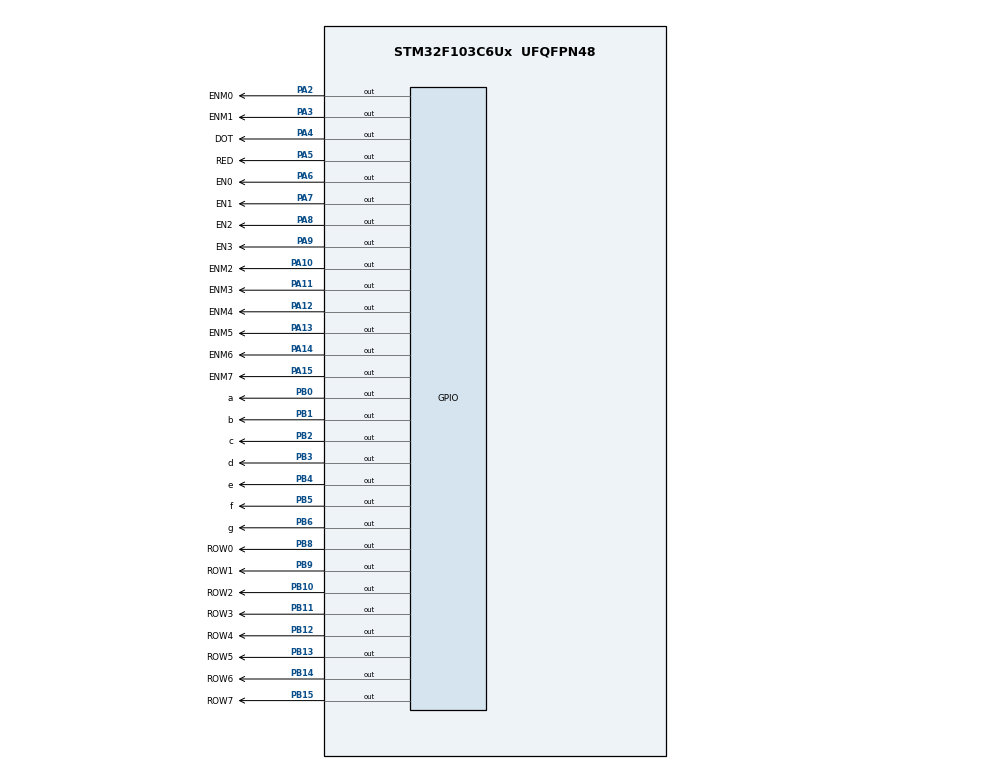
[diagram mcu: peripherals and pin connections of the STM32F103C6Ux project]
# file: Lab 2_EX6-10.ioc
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Mcu.Family=STM32F1
Mcu.Name=STM32F103C6Ux
Mcu.Package=UFQFPN48
NVIC.PriorityGroup=NVIC_PRIORITYGROUP_4
NVIC.TIM2_IRQn=true\:0\:0\:false\:false\:true\:true\:true
PA10.GPIO_Label=ENM2
PA10.Signal=GPIO_Output
PA11.GPIO_Label=ENM3
PA11.Signal=GPIO_Output
PA12.GPIO_Label=ENM4
PA12.Signal=GPIO_Output
PA13.GPIO_Label=ENM5
PA13.Signal=GPIO_Output
PA14.GPIO_Label=ENM6
PA14.Signal=GPIO_Output
PA15.GPIO_Label=ENM7
PA15.Signal=GPIO_Output
PA2.GPIO_Label=ENM0
PA2.Signal=GPIO_Output
PA3.GPIO_Label=ENM1
PA3.Signal=GPIO_Output
PA4.GPIO_Label=DOT
PA4.Signal=GPIO_Output
PA5.GPIO_Label=RED
PA5.Signal=GPIO_Output
PA6.GPIO_Label=EN0
PA6.Signal=GPIO_Output
PA7.GPIO_Label=EN1
PA7.Signal=GPIO_Output
PA8.GPIO_Label=EN2
PA8.Signal=GPIO_Output
PA9.GPIO_Label=EN3
PA9.Signal=GPIO_Output
PB0.GPIO_Label=a
PB0.Signal=GPIO_Output
PB1.GPIO_Label=b
PB1.Signal=GPIO_Output
PB10.GPIO_Label=ROW2
PB10.Signal=GPIO_Output
PB11.GPIO_Label=ROW3
PB11.Signal=GPIO_Output
PB12.GPIO_Label=ROW4
PB12.Signal=GPIO_Output
PB13.GPIO_Label=ROW5
PB13.Signal=GPIO_Output
PB14.GPIO_Label=ROW6
PB14.Signal=GPIO_Output
PB15.GPIO_Label=ROW7
PB15.Signal=GPIO_Output
PB2.GPIO_Label=c
PB2.Signal=GPIO_Output
PB3.GPIO_Label=d
PB3.Signal=GPIO_Output
PB4.GPIO_Label=e
PB4.Signal=GPIO_Output
PB5.GPIO_Label=f
PB5.Signal=GPIO_Output
PB6.GPIO_Label=g
PB6.Signal=GPIO_Output
PB8.GPIO_Label=ROW0
PB8.Signal=GPIO_Output
PB9.GPIO_Label=ROW1
PB9.Signal=GPIO_Output
ProjectManager.HeapSize=0x200
ProjectManager.StackSize=0x400
ProjectManager.TargetToolchain=STM32CubeIDE
RCC.APB1Freq_Value=8000000
RCC.APB2Freq_Value=8000000
TIM2.Period=9
TIM2.Prescaler=7999
VP_SYS_VS_ND.Mode=No_Debug
VP_TIM2_VS_ClockSourceINT.Mode=Internal
board=custom

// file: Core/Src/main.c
/* USER CODE BEGIN Header */
/**
  ******************************************************************************
  * @file           : main.c
  * @brief          : Main program body
  ******************************************************************************
  * @attention
  *
  * <h2><center>&copy; Copyright (c) 2022 STMicroelectronics.
  * All rights reserved.</center></h2>
  *
  * This software component is licensed by ST under BSD 3-Clause license,
  * the "License"; You may not use this file except in compliance with the
  * License. You may obtain a copy of the License at:
  *                        opensource.org/licenses/BSD-3-Clause
  *
  ******************************************************************************
  */
/* USER CODE END Header */
#include "main.h"

/* USER CODE BEGIN PD */
#define ENABLE_0_ON 1
#define ENABLE_1_ON 2
#define ENABLE_2_ON 3
#define ENABLE_3_ON 0

#define HALF_A_SEC 500
#define SCANNING_FREQ 250
#define REV_TIMER_UP 10

#define HOUR 24
#define MINUTE 60
#define SECOND 60

#define RESET_COUNTER 0
#define A_SEC 1000

#define FINISH_TIMER 1

#define MATRIX_ON 0
#define MATRIX_OFF 1
/* USER CODE END PD */

TIM_HandleTypeDef htim2;

/* USER CODE BEGIN PV */
const int MAX_LED = 4;
int index_led = 0;
int led_buffer [4] = {1 , 2 , 3 , 4};

int hour = 15, minute = 8, second = 50;

int timer0_counter = 0;
int timer0_flag = 0;
int TIMER_CYCLE = 10;
int timer1_counter = 0;
int timer1_flag = 0;

int LED_buffer[10] = {0x40, 0x79, 0x24, 0x30, 0x19, 0x12, 0x02, 0x78, 0x00, 0x10};
/* USER CODE END PV */

void SystemClock_Config(void);
static void MX_GPIO_Init(void);
static void MX_TIM2_Init(void);
/* USER CODE BEGIN PFP */
void display7SEG(uint8_t num){
	HAL_GPIO_WritePin(a_GPIO_Port, a_Pin, ((LED_buffer[num] >> 0) & 0x01));
	HAL_GPIO_WritePin(b_GPIO_Port, b_Pin, ((LED_buffer[num] >> 1) & 0x01));
	HAL_GPIO_WritePin(c_GPIO_Port, c_Pin, ((LED_buffer[num] >> 2) & 0x01));
	HAL_GPIO_WritePin(d_GPIO_Port, d_Pin, ((LED_buffer[num] >> 3) & 0x01));
	HAL_GPIO_WritePin(e_GPIO_Port, e_Pin, ((LED_buffer[num] >> 4) & 0x01));
	HAL_GPIO_WritePin(f_GPIO_Port, f_Pin, ((LED_buffer[num] >> 5) & 0x01));
	HAL_GPIO_WritePin(g_GPIO_Port, g_Pin, ((LED_buffer[num] >> 6) & 0x01));
}

void update7SEG(int index){
	switch (index){
		case 0:
			// Display the first 7 SEG with led_buffer [0]
			HAL_GPIO_WritePin(EN0_GPIO_Port, EN0_Pin, RESET);
			HAL_GPIO_WritePin(EN1_GPIO_Port, EN1_Pin, SET);
			HAL_GPIO_WritePin(EN2_GPIO_Port, EN2_Pin, SET);
			HAL_GPIO_WritePin(EN3_GPIO_Port, EN3_Pin, SET);
			display7SEG(led_buffer[index]);

			break;
		case 1:
			// Display the second 7 SEG with led_buffer [1]
			HAL_GPIO_WritePin(EN0_GPIO_Port, EN0_Pin, SET);
			HAL_GPIO_WritePin(EN1_GPIO_Port, EN1_Pin, RESET);
			HAL_GPIO_WritePin(EN2_GPIO_Port, EN2_Pin, SET);
			HAL_GPIO_WritePin(EN3_GPIO_Port, EN3_Pin, SET);
			display7SEG(led_buffer[index]);

			break;
		case 2:
			// Display the third 7 SEG with led_buffer [2]
			HAL_GPIO_WritePin(EN0_GPIO_Port, EN0_Pin, SET);
			HAL_GPIO_WritePin(EN1_GPIO_Port, EN1_Pin, SET);
			HAL_GPIO_WritePin(EN2_GPIO_Port, EN2_Pin, RESET);
			HAL_GPIO_WritePin(EN3_GPIO_Port, EN3_Pin, SET);
			display7SEG(led_buffer[index]); //output 4

			break;
		case 3:
			// Display the forth 7 SEG with led_buffer [3]
			HAL_GPIO_WritePin(EN0_GPIO_Port, EN0_Pin, SET);
			HAL_GPIO_WritePin(EN1_GPIO_Port, EN1_Pin, SET);
			HAL_GPIO_WritePin(EN2_GPIO_Port, EN2_Pin, SET);
			HAL_GPIO_WritePin(EN3_GPIO_Port, EN3_Pin, RESET);
			display7SEG(led_buffer[index]);
			break;
		default:
			break;
	}
}

int Get_Chuc(int number){
	return ((number%100/10));
}

int Get_Don_vi(int number){
	return (number%10);
}

void updateClockBuffer(){
	int Hour_Chuc, Hour_Don_vi, Minute_Chuc, Minute_Don_vi;
	Hour_Chuc = Get_Chuc(hour);
	led_buffer[0] = Hour_Chuc;

	Hour_Don_vi = Get_Don_vi(hour);
	led_buffer[1] = Hour_Don_vi;

	Minute_Chuc = Get_Chuc(minute);
	led_buffer[2] = Minute_Chuc;

	Minute_Don_vi = Get_Don_vi(minute);
	led_buffer[3] = Minute_Don_vi;
}

void setTimer0(int duration){
	timer0_counter = duration / TIMER_CYCLE ;
	timer0_flag = RESET_COUNTER;
}

void setTimer1(int duration){
	timer1_counter = duration / TIMER_CYCLE ;
	timer1_flag = RESET_COUNTER;
}

void timer_run(){
	if(timer0_counter > RESET_COUNTER){
		timer0_counter--;
		if(timer0_counter == RESET_COUNTER) timer0_flag = FINISH_TIMER;
	}

	if(timer1_counter > RESET_COUNTER){
        timer1_counter--;
        if(timer1_counter == RESET_COUNTER) timer1_flag = FINISH_TIMER;
    }
}

/* USER CODE END PFP */

int main(void)
{

  /* MCU Configuration--------------------------------------------------------*/

  /* Reset of all peripherals, Initializes the Flash interface and the Systick. */
  HAL_Init();

  /* Configure the system clock */
  SystemClock_Config();

  /* Initialize all configured peripherals */
  MX_GPIO_Init();
  MX_TIM2_Init();
  /* USER CODE BEGIN 2 */
  HAL_TIM_Base_Start_IT(&htim2);
  /* USER CODE END 2 */

  /* Infinite loop */
  /* USER CODE BEGIN WHILE */
  setTimer0(REV_TIMER_UP);
  setTimer1(REV_TIMER_UP);
  while (1)
  {
	  if(timer0_flag == 1){
		  HAL_GPIO_TogglePin(DOT_GPIO_Port, DOT_Pin);

		  if(second >= SECOND){
			  second = RESET_COUNTER;
			  minute++;
		  }

		  if(minute >= MINUTE){
			  minute = RESET_COUNTER;
			  hour++;
		  }

		  if(hour >= HOUR){
			  hour = RESET_COUNTER;
		  }

		  second++;
		  updateClockBuffer();

		  setTimer0(A_SEC);
	  }

	  if(timer1_flag == 1){
			if(index_led < 0 || index_led > 3) index_led = 0;
			update7SEG(index_led++);
			setTimer1(SCANNING_FREQ);
		}
	  }
    /* USER CODE END WHILE */

  }

void SystemClock_Config(void)
{
  RCC_OscInitTypeDef RCC_OscInitStruct = {0};
  RCC_ClkInitTypeDef RCC_ClkInitStruct = {0};

  /** Initializes the RCC Oscillators according to the specified parameters
  * in the RCC_OscInitTypeDef structure.
  */
  RCC_OscInitStruct.OscillatorType = RCC_OSCILLATORTYPE_HSI;
  RCC_OscInitStruct.HSIState = RCC_HSI_ON;
  RCC_OscInitStruct.HSICalibrationValue = RCC_HSICALIBRATION_DEFAULT;
  RCC_OscInitStruct.PLL.PLLState = RCC_PLL_NONE;
  if (HAL_RCC_OscConfig(&RCC_OscInitStruct) != HAL_OK)
  {
    Error_Handler();
  }
  /** Initializes the CPU, AHB and APB buses clocks
  */
  RCC_ClkInitStruct.ClockType = RCC_CLOCKTYPE_HCLK|RCC_CLOCKTYPE_SYSCLK
                              |RCC_CLOCKTYPE_PCLK1|RCC_CLOCKTYPE_PCLK2;
  RCC_ClkInitStruct.SYSCLKSource = RCC_SYSCLKSOURCE_HSI;
  RCC_ClkInitStruct.AHBCLKDivider = RCC_SYSCLK_DIV1;
  RCC_ClkInitStruct.APB1CLKDivider = RCC_HCLK_DIV1;
  RCC_ClkInitStruct.APB2CLKDivider = RCC_HCLK_DIV1;

  if (HAL_RCC_ClockConfig(&RCC_ClkInitStruct, FLASH_LATENCY_0) != HAL_OK)
  {
    Error_Handler();
  }
}

static void MX_TIM2_Init(void)
{

  TIM_ClockConfigTypeDef sClockSourceConfig = {0};
  TIM_MasterConfigTypeDef sMasterConfig = {0};

  htim2.Instance = TIM2;
  htim2.Init.Prescaler = 7999;
  htim2.Init.CounterMode = TIM_COUNTERMODE_UP;
  htim2.Init.Period = 9;
  htim2.Init.ClockDivision = TIM_CLOCKDIVISION_DIV1;
  htim2.Init.AutoReloadPreload = TIM_AUTORELOAD_PRELOAD_DISABLE;
  if (HAL_TIM_Base_Init(&htim2) != HAL_OK)
  {
    Error_Handler();
  }
  sClockSourceConfig.ClockSource = TIM_CLOCKSOURCE_INTERNAL;
  if (HAL_TIM_ConfigClockSource(&htim2, &sClockSourceConfig) != HAL_OK)
  {
    Error_Handler();
  }
  sMasterConfig.MasterOutputTrigger = TIM_TRGO_RESET;
  sMasterConfig.MasterSlaveMode = TIM_MASTERSLAVEMODE_DISABLE;
  if (HAL_TIMEx_MasterConfigSynchronization(&htim2, &sMasterConfig) != HAL_OK)
  {
    Error_Handler();
  }

}

static void MX_GPIO_Init(void)
{
  GPIO_InitTypeDef GPIO_InitStruct = {0};

  /* GPIO Ports Clock Enable */
  __HAL_RCC_GPIOA_CLK_ENABLE();
  __HAL_RCC_GPIOB_CLK_ENABLE();

  /*Configure GPIO pin Output Level */
  HAL_GPIO_WritePin(GPIOA, ENM0_Pin|ENM1_Pin|DOT_Pin|RED_Pin
                          |EN0_Pin|EN1_Pin|EN2_Pin|EN3_Pin
                          |ENM2_Pin|ENM3_Pin|ENM4_Pin|ENM5_Pin
                          |ENM6_Pin|ENM7_Pin, GPIO_PIN_RESET);

  /*Configure GPIO pin Output Level */
  HAL_GPIO_WritePin(GPIOB, a_Pin|b_Pin|c_Pin|ROW2_Pin
                          |ROW3_Pin|ROW4_Pin|ROW5_Pin|ROW6_Pin
                          |ROW7_Pin|d_Pin|e_Pin|f_Pin
                          |g_Pin|ROW0_Pin|ROW1_Pin, GPIO_PIN_RESET);

  /*Configure GPIO pins : ENM0_Pin ENM1_Pin DOT_Pin RED_Pin
                           EN0_Pin EN1_Pin EN2_Pin EN3_Pin
                           ENM2_Pin ENM3_Pin ENM4_Pin ENM5_Pin
                           ENM6_Pin ENM7_Pin */
  GPIO_InitStruct.Pin = ENM0_Pin|ENM1_Pin|DOT_Pin|RED_Pin
                          |EN0_Pin|EN1_Pin|EN2_Pin|EN3_Pin
                          |ENM2_Pin|ENM3_Pin|ENM4_Pin|ENM5_Pin
                          |ENM6_Pin|ENM7_Pin;
  GPIO_InitStruct.Mode = GPIO_MODE_OUTPUT_PP;
  GPIO_InitStruct.Pull = GPIO_NOPULL;
  GPIO_InitStruct.Speed = GPIO_SPEED_FREQ_LOW;
  HAL_GPIO_Init(GPIOA, &GPIO_InitStruct);

  /*Configure GPIO pins : a_Pin b_Pin c_Pin ROW2_Pin
                           ROW3_Pin ROW4_Pin ROW5_Pin ROW6_Pin
                           ROW7_Pin d_Pin e_Pin f_Pin
                           g_Pin ROW0_Pin ROW1_Pin */
  GPIO_InitStruct.Pin = a_Pin|b_Pin|c_Pin|ROW2_Pin
                          |ROW3_Pin|ROW4_Pin|ROW5_Pin|ROW6_Pin
                          |ROW7_Pin|d_Pin|e_Pin|f_Pin
                          |g_Pin|ROW0_Pin|ROW1_Pin;
  GPIO_InitStruct.Mode = GPIO_MODE_OUTPUT_PP;
  GPIO_InitStruct.Pull = GPIO_NOPULL;
  GPIO_InitStruct.Speed = GPIO_SPEED_FREQ_LOW;
  HAL_GPIO_Init(GPIOB, &GPIO_InitStruct);

}

/* USER CODE BEGIN 4 */

void HAL_TIM_PeriodElapsedCallback(TIM_HandleTypeDef *htim){
	timer_run();
}
/* USER CODE END 4 */

void Error_Handler(void)
{
  __disable_irq();
  while (1)
  {
  }
}

/************************ (C) COPYRIGHT STMicroelectronics *****END OF FILE****/
